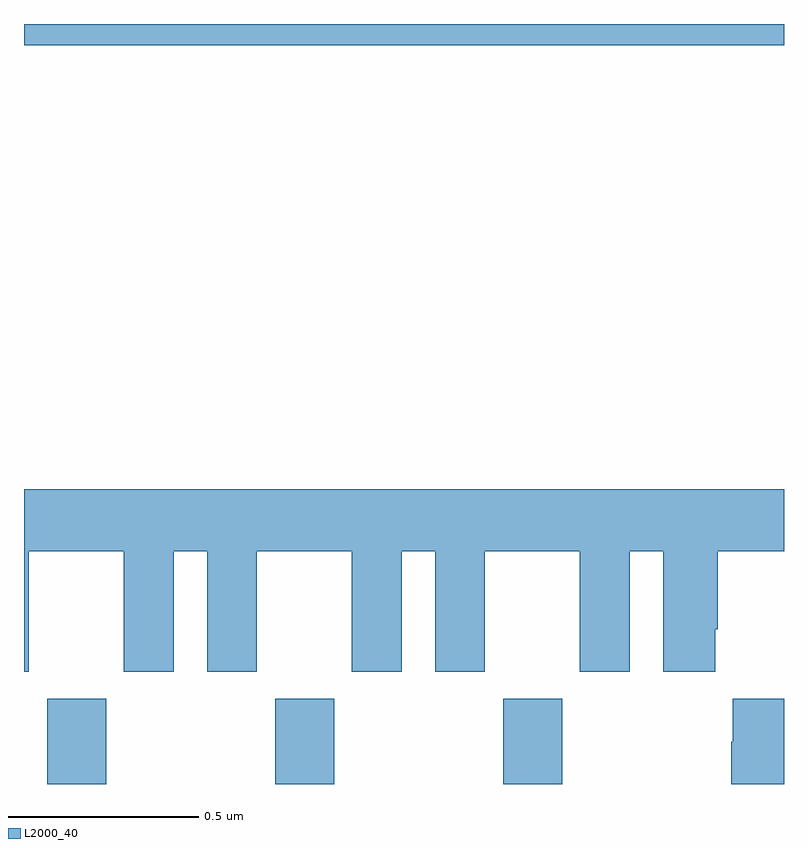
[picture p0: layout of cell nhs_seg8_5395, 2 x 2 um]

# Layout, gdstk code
import gdstk
lib = gdstk.Library(unit=1e-6, precision=1e-09)
def R(c, l, rs):  # rectangles x0, y0, x1, y1
    for r in rs: c.add(gdstk.rectangle(r[:2], r[2:], *l))
def A(c, l, x, y, w, h, nx, ny, dx, dy):  # array of equal rectangles
    R(c, l, [(x+i*dx, y+j*dy, x+i*dx+w, y+j*dy+h) for i in range(nx) for j in range(ny)])
def P(c, l, *ps):  # polygons
    for p in ps: c.add(gdstk.Polygon(p, *l))
L2000_40 = (2000, 40)

nhs_seg8_5395 = lib.new_cell('nhs_seg8_5395')
A(nhs_seg8_5395, L2000_40, 183.061, 1103.9, 0.155, 0.224, 3, 1, 0.6, 0)
R(nhs_seg8_5395, L2000_40, [(183,1105.844,185,1105.9)])
P(nhs_seg8_5395, L2000_40, [(183.013,1104.512),(183.263,1104.512),(183.263,1104.195),(183.394,1104.195),(183.394,1104.512),(183.482,1104.512),(183.482,1104.195),(183.613,1104.195),(183.613,1104.512),(183.863,1104.512),(183.863,1104.195),(183.994,1104.195),(183.994,1104.512),(184.082,1104.512),(184.082,1104.195),(184.213,1104.195),(184.213,1104.512),(184.463,1104.512),(184.463,1104.195),(184.594,1104.195),(184.594,1104.512),(184.682,1104.512),(184.682,1104.195),(184.819,1104.195),(184.819,1104.307),(184.826,1104.307),(184.826,1104.512),(185,1104.512),(185,1104.676),(183,1104.676),(183,1104.195),(183.013,1104.195)],
  [(185,1104.124),(184.865,1104.124),(184.865,1104.011),(184.861,1104.011),(184.861,1103.9),(185,1103.9)])

lib.write_gds('nhs_seg8_5395.gds')
